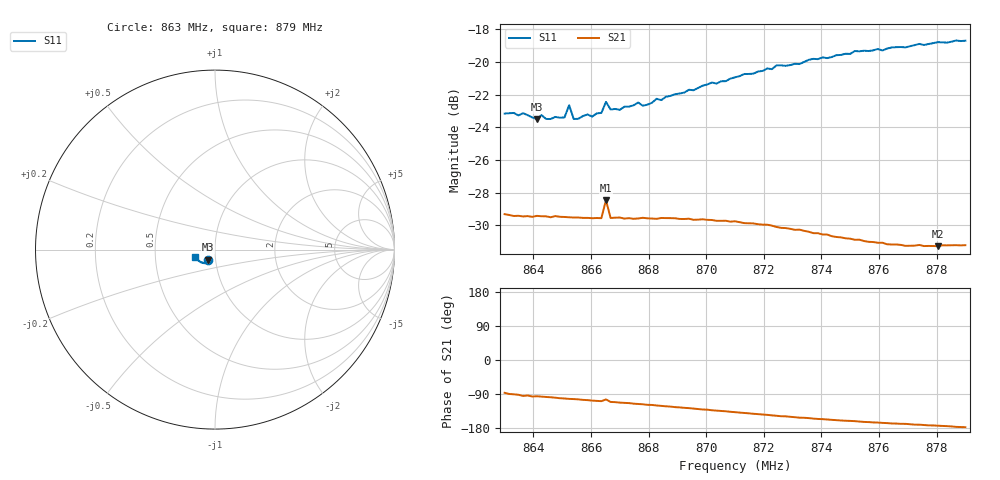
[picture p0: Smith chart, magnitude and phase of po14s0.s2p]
# HZ S RI R 50
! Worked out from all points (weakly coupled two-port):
!   101 points, 863 MHz to 879 MHz, reference 50 ohm
!   highest |S21| = -28.47 dB at 866.52 MHz (marker M1); lowest = -31.3 dB at 878.04 MHz (marker M2)
!   lowest |S11| = -23.5 dB at 864.12 MHz (marker M3), VSWR 1.14, Z = 46.1 - j5.11 ohm
!   |S11| at or under -10 dB: start of sweep to end of sweep
!   S12 and S22 are empty: the file has one direction only
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8.63e8  -0.0415 -0.0558  0.00203 -0.0341  0 0  0 0
8.6364e8  -0.0421 -0.0556  -0.00282 -0.0335  0 0  0 0
8.6412e8  -0.0377 -0.0552  -0.00333 -0.0336  0 0  0 0
8.6428e8  -0.0387 -0.0568  -0.00388 -0.0335  0 0  0 0
8.6444e8  -0.0384 -0.0548  -0.00441 -0.0334  0 0  0 0
8.6508e8  -0.0353 -0.0577  -0.0067 -0.0328  0 0  0 0
8.6524e8  -0.0457 -0.0578  -0.00731 -0.0326  0 0  0 0
8.654e8  -0.0346 -0.0572  -0.00757 -0.0325  0 0  0 0
8.6572e8  -0.0347 -0.0588  -0.00872 -0.0321  0 0  0 0
8.6636e8  -0.0342 -0.0609  -0.0106 -0.0315  0 0  0 0
8.6652e8  -0.0241 -0.0715  -0.00917 -0.0366  0 0  0 0
8.6668e8  -0.0349 -0.0625  -0.0117 -0.0311  0 0  0 0
8.67e8  -0.0355 -0.0619  -0.0127 -0.0308  0 0  0 0
8.6764e8  -0.0366 -0.0656  -0.0146 -0.0298  0 0  0 0
8.678e8  -0.0345 -0.0648  -0.0151 -0.0297  0 0  0 0
8.6828e8  -0.0373 -0.0675  -0.0165 -0.0286  0 0  0 0
8.6844e8  -0.0371 -0.0668  -0.0172 -0.0285  0 0  0 0
8.71e8  -0.05 -0.0745  -0.024 -0.0219  0 0  0 0
8.7372e8  -0.0702 -0.0744  -0.027 -0.0128  0 0  0 0
8.7644e8  -0.093 -0.0603  -0.0269 -0.006  0 0  0 0
8.7804e8  -0.105 -0.0469  -0.0271 -0.00314  0 0  0 0
8.79e8  -0.1092 -0.0397  -0.0274 -0.00123  0 0  0 0
